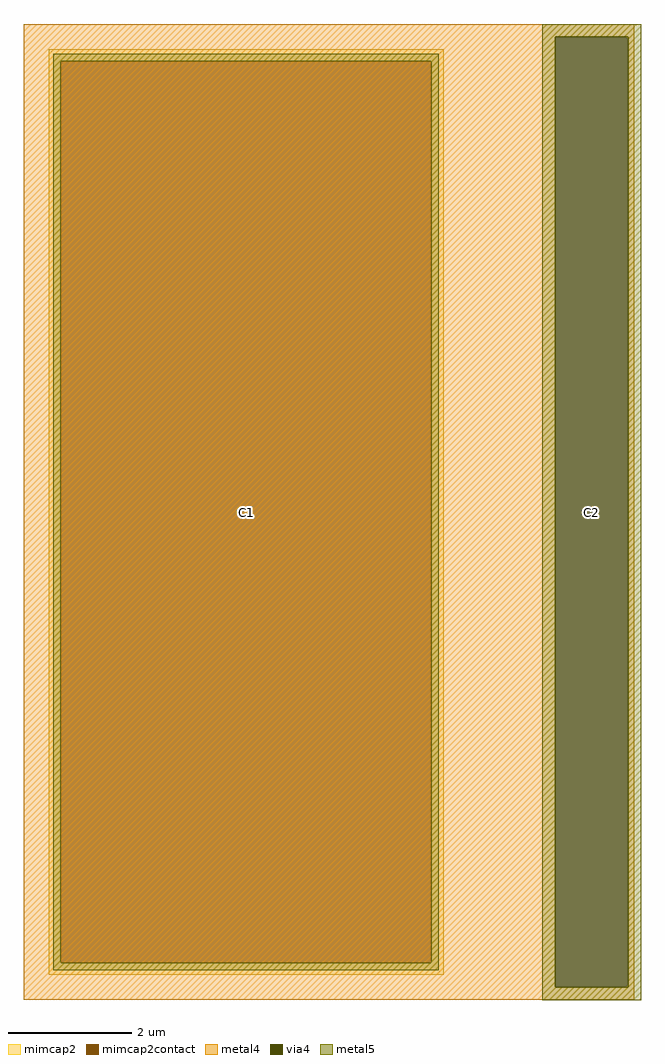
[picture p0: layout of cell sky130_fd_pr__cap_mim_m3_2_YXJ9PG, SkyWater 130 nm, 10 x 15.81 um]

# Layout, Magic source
magic
tech sky130A
magscale 1 2
<< metal4 >>
rect -989 1539 989 1580
rect -989 -1539 733 1539
rect 969 -1539 989 1539
rect -989 -1580 989 -1539
<< via4 >>
rect 733 -1539 969 1539
<< mimcap2 >>
rect -909 1460 371 1500
rect -909 -1460 -869 1460
rect 331 -1460 371 1460
rect -909 -1500 371 -1460
<< mimcap2contact >>
rect -869 -1460 331 1460
<< metal5 >>
rect 691 1539 1011 1581
rect -893 1460 355 1484
rect -893 -1460 -869 1460
rect 331 -1460 355 1460
rect -893 -1484 355 -1460
rect 691 -1539 733 1539
rect 969 -1539 1011 1539
rect 691 -1581 1011 -1539
<< labels >>
rlabel via4 851 0 851 0 0 C2
port 3 nsew
rlabel mimcap2contact -269 0 -269 0 0 C1
port 4 nsew
<< properties >>
string FIXED_BBOX -989 -1580 451 1580
string gencell sky130_fd_pr__cap_mim_m3_2
string library sky130
string parameters w 6.4 l 15.0 val 200.132 carea 2.00 cperi 0.19 class capacitor nx 1 ny 1 dummy 0 square 0 lmin 2.00 wmin 2.00 lmax 30.0 wmax 30.0 dc 0 bconnect 1 tconnect 1 ccov 100 doports 1
<< end >>
